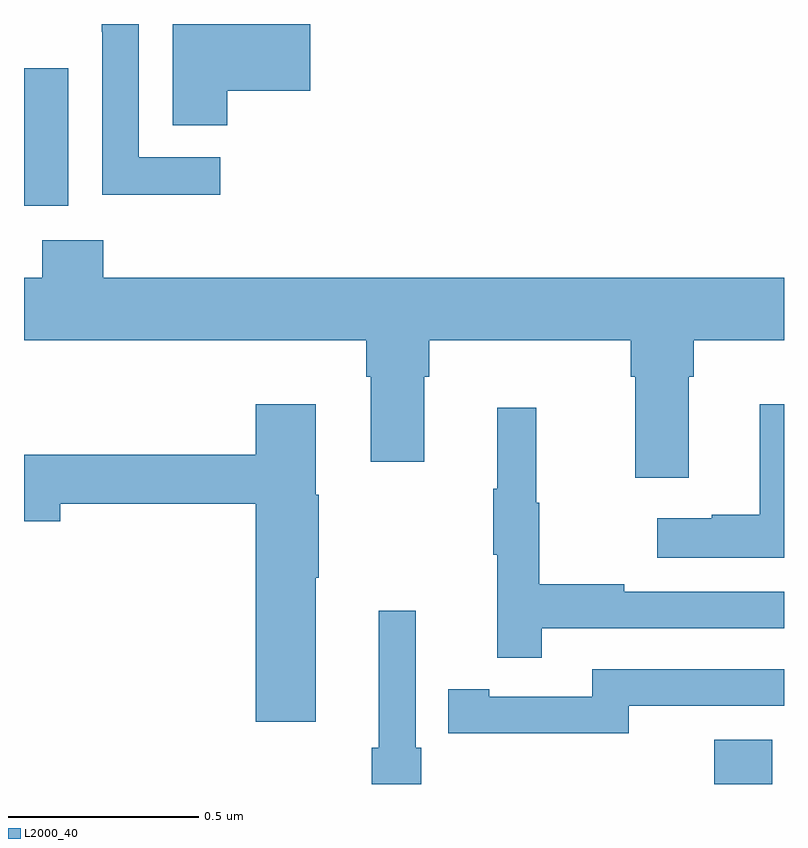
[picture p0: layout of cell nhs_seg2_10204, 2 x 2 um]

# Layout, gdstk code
import gdstk
lib = gdstk.Library(unit=1e-6, precision=1e-09)
def R(c, l, rs):  # rectangles x0, y0, x1, y1
    for r in rs: c.add(gdstk.rectangle(r[:2], r[2:], *l))
def P(c, l, *ps):  # polygons
    for p in ps: c.add(gdstk.Polygon(p, *l))
L2000_40 = (2000, 40)

nhs_seg2_10204 = lib.new_cell('nhs_seg2_10204')
R(nhs_seg2_10204, L2000_40, [(239.816,647.8,239.969,647.917), (238,649.322,238.117,649.683)])
P(nhs_seg2_10204, L2000_40, [(238.535,649.625),(238.753,649.625),(238.753,649.8),(238.391,649.8),(238.391,649.534),(238.535,649.534)],
  [(238.516,649.449),(238.302,649.449),(238.302,649.8),(238.204,649.8),(238.204,649.78),(238.206,649.78),(238.206,649.351),(238.516,649.351)],
  [(239.749,648.872),(239.762,648.872),(239.762,648.968),(240,648.968),(240,649.132),(238.208,649.132),(238.208,649.231),(238.048,649.231),(238.048,649.132),(238,649.132),(238,648.968),(238.901,648.968),(238.901,648.872),(238.913,648.872),(238.913,648.648),(239.053,648.648),(239.053,648.872),(239.066,648.872),(239.066,648.968),(239.597,648.968),(239.597,648.872),(239.609,648.872),(239.609,648.606),(239.749,648.606)],
  [(240,648.799),(239.936,648.799),(239.936,648.509),(239.81,648.509),(239.81,648.499),(239.667,648.499),(239.667,648.395),(240,648.395)],
  [(238.768,648.343),(238.776,648.343),(238.776,648.561),(238.768,648.561),(238.768,648.799),(238.61,648.799),(238.61,648.667),(238,648.667),(238,648.491),(238.096,648.491),(238.096,648.538),(238.61,648.538),(238.61,647.964),(238.768,647.964)],
  [(239.363,648.21),(240,648.21),(240,648.306),(239.579,648.306),(239.579,648.326),(239.356,648.326),(239.356,648.54),(239.348,648.54),(239.348,648.79),(239.246,648.79),(239.246,648.577),(239.235,648.577),(239.235,648.403),(239.246,648.403),(239.246,648.132),(239.363,648.132)],
  [(239.592,648.006),(240,648.006),(240,648.102),(239.496,648.102),(239.496,648.03),(239.224,648.03),(239.224,648.05),(239.116,648.05),(239.116,647.934),(239.224,647.934),(239.224,647.933),(239.592,647.933)],
  [(239.031,647.896),(239.031,648.256),(238.934,648.256),(238.934,647.896),(238.915,647.896),(238.915,647.8),(239.045,647.8),(239.045,647.896)])

lib.write_gds('nhs_seg2_10204.gds')
